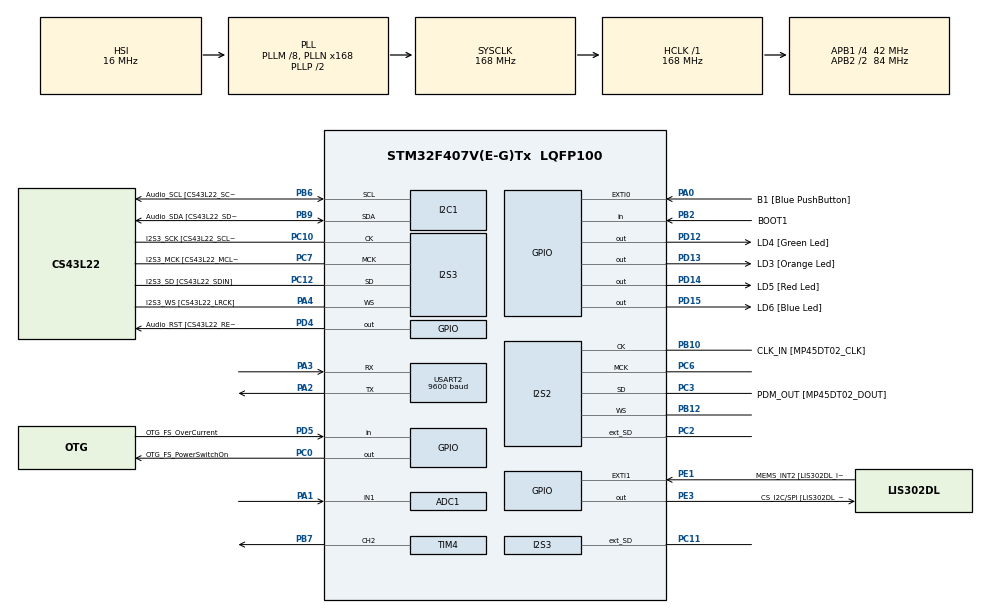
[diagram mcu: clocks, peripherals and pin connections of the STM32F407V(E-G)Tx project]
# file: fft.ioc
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ADC1.Channel-0\#ChannelRegularConversion=ADC_CHANNEL_1
ADC1.NbrOfConversionFlag=1
ADC1.Rank-0\#ChannelRegularConversion=1
ADC1.SamplingTime-0\#ChannelRegularConversion=ADC_SAMPLETIME_3CYCLES
ADC1.master=1
Dma.ADC1.0.Direction=DMA_PERIPH_TO_MEMORY
Dma.ADC1.0.FIFOMode=DMA_FIFOMODE_DISABLE
Dma.ADC1.0.Instance=DMA2_Stream0
Dma.ADC1.0.MemDataAlignment=DMA_MDATAALIGN_HALFWORD
Dma.ADC1.0.MemInc=DMA_MINC_ENABLE
Dma.ADC1.0.Mode=DMA_CIRCULAR
Dma.ADC1.0.PeriphDataAlignment=DMA_PDATAALIGN_HALFWORD
Dma.ADC1.0.PeriphInc=DMA_PINC_DISABLE
Dma.ADC1.0.Priority=DMA_PRIORITY_LOW
Dma.Request0=ADC1
Dma.Request1=USART2_RX
Dma.Request2=USART2_TX
Dma.USART2_RX.1.Direction=DMA_PERIPH_TO_MEMORY
Dma.USART2_RX.1.FIFOMode=DMA_FIFOMODE_DISABLE
Dma.USART2_RX.1.Instance=DMA1_Stream5
Dma.USART2_RX.1.MemDataAlignment=DMA_MDATAALIGN_HALFWORD
Dma.USART2_RX.1.MemInc=DMA_MINC_ENABLE
Dma.USART2_RX.1.Mode=DMA_CIRCULAR
Dma.USART2_RX.1.PeriphDataAlignment=DMA_PDATAALIGN_HALFWORD
Dma.USART2_RX.1.PeriphInc=DMA_PINC_DISABLE
Dma.USART2_RX.1.Priority=DMA_PRIORITY_LOW
Dma.USART2_TX.2.Direction=DMA_MEMORY_TO_PERIPH
Dma.USART2_TX.2.FIFOMode=DMA_FIFOMODE_DISABLE
Dma.USART2_TX.2.Instance=DMA1_Stream6
Dma.USART2_TX.2.MemDataAlignment=DMA_MDATAALIGN_HALFWORD
Dma.USART2_TX.2.MemInc=DMA_MINC_ENABLE
Dma.USART2_TX.2.Mode=DMA_CIRCULAR
Dma.USART2_TX.2.PeriphDataAlignment=DMA_PDATAALIGN_HALFWORD
Dma.USART2_TX.2.PeriphInc=DMA_PINC_DISABLE
Dma.USART2_TX.2.Priority=DMA_PRIORITY_LOW
I2S2.AudioFreq=I2S_AUDIOFREQ_8K
I2S2.ErrorAudioFreq=-0.25 %
I2S2.FullDuplexMode=I2S_FULLDUPLEXMODE_ENABLE
I2S2.Instance=SPI$Index
I2S2.RealAudioFreq=7.98 KHz
I2S2.VirtualMode=I2S_MODE_MASTER
I2S3.AudioFreq=I2S_AUDIOFREQ_44K
I2S3.DataFormat=I2S_DATAFORMAT_32B
I2S3.ErrorAudioFreq=-0.77 %
I2S3.FullDuplexMode=I2S_FULLDUPLEXMODE_ENABLE
I2S3.Instance=SPI$Index
I2S3.Mode=I2S_MODE_MASTER_RX
I2S3.RealAudioFreq=43.658 KHz
I2S3.VirtualMode=I2S_MODE_MASTER
Mcu.Family=STM32F4
Mcu.Name=STM32F407V(E-G)Tx
Mcu.Package=LQFP100
NVIC.DMA1_Stream5_IRQn=true\:0\:0\:false\:false\:true
NVIC.DMA1_Stream6_IRQn=true\:0\:0\:false\:false\:true
NVIC.DMA2_Stream0_IRQn=true\:0\:0\:false\:false\:true
NVIC.PriorityGroup=NVIC_PRIORITYGROUP_0
NVIC.SPI3_IRQn=true\:0\:0\:false\:false\:true
PA0-WKUP.GPIO_Label=B1 [Blue PushButton]
PA0-WKUP.GPIO_ModeDefaultEXTI=GPIO_MODE_EVT_RISING
PA0-WKUP.GPIO_PuPd=GPIO_NOPULL
PA0-WKUP.Signal=GPXTI0
PA1.Signal=ADCx_IN1
PA10.GPIO_Label=OTG_FS_ID
PA10.GPIO_Mode=GPIO_MODE_AF_PP
PA10.GPIO_PuPd=GPIO_NOPULL
PA10.GPIO_Speed=GPIO_SPEED_FREQ_LOW
PA10.Signal=USB_OTG_FS_ID
PA11.GPIO_Label=OTG_FS_DM
PA11.GPIO_Mode=GPIO_MODE_AF_PP
PA11.GPIO_PuPd=GPIO_NOPULL
PA11.GPIO_Speed=GPIO_SPEED_FREQ_LOW
PA11.Signal=USB_OTG_FS_DM
PA12.GPIO_Label=OTG_FS_DP
PA12.GPIO_Mode=GPIO_MODE_AF_PP
PA12.GPIO_PuPd=GPIO_NOPULL
PA12.GPIO_Speed=GPIO_SPEED_FREQ_LOW
PA12.Signal=USB_OTG_FS_DP
PA13.GPIO_Label=SWDIO
PA13.Signal=SYS_JTMS-SWDIO
PA14.GPIO_Label=SWCLK
PA14.Signal=SYS_JTCK-SWCLK
PA2.Mode=Asynchronous
PA2.Signal=USART2_TX
PA3.Mode=Asynchronous
PA3.Signal=USART2_RX
PA4.GPIO_Label=I2S3_WS [CS43L22_LRCK]
PA4.GPIO_Mode=GPIO_MODE_AF_PP
PA4.GPIO_PuPd=GPIO_NOPULL
PA4.GPIO_Speed=GPIO_SPEED_FREQ_LOW
PA4.Mode=Full_Duplex_Master
PA4.Signal=I2S3_WS
PA5.GPIO_Label=SPI1_SCK [LIS302DL_SCL/SPC]
PA5.GPIO_Mode=GPIO_MODE_AF_PP
PA5.GPIO_PuPd=GPIO_NOPULL
PA5.GPIO_Speed=GPIO_SPEED_FREQ_LOW
PA5.Signal=SPI1_SCK
PA6.GPIO_Label=SPI1_MISO [LIS302DL_SDO]
PA6.GPIO_Mode=GPIO_MODE_AF_PP
PA6.GPIO_PuPd=GPIO_NOPULL
PA6.GPIO_Speed=GPIO_SPEED_FREQ_LOW
PA6.Signal=SPI1_MISO
PA7.GPIO_Label=SPI1_MOSI [LIS302DL_SDA/SDI/SDO]
PA7.GPIO_Mode=GPIO_MODE_AF_PP
PA7.GPIO_PuPd=GPIO_NOPULL
PA7.GPIO_Speed=GPIO_SPEED_FREQ_LOW
PA7.Signal=SPI1_MOSI
PA9.GPIO_Label=VBUS_FS
PA9.GPIO_Mode=GPIO_MODE_INPUT
PA9.GPIO_PuPd=GPIO_NOPULL
PA9.Signal=USB_OTG_FS_VBUS
PB10.GPIO_Label=CLK_IN [MP45DT02_CLK]
PB10.GPIO_Mode=GPIO_MODE_AF_PP
PB10.GPIO_PuPd=GPIO_NOPULL
PB10.GPIO_Speed=GPIO_SPEED_FREQ_LOW
PB10.Mode=Full_Duplex_Master
PB10.Signal=I2S2_CK
PB12.Mode=Full_Duplex_Master
PB12.Signal=I2S2_WS
PB2.GPIO_Label=BOOT1
PB2.GPIO_Mode=GPIO_MODE_INPUT
PB2.GPIO_PuPd=GPIO_NOPULL
PB2.Signal=GPIO_Input
PB3.GPIO_Label=SWO
PB3.Signal=SYS_JTDO-SWO
PB6.GPIO_Label=Audio_SCL [CS43L22_SCL]
PB6.GPIO_Mode=GPIO_MODE_AF_OD
PB6.GPIO_PuPd=GPIO_NOPULL
PB6.GPIO_Speed=GPIO_SPEED_FREQ_LOW
PB6.Mode=I2C
PB6.Signal=I2C1_SCL
PB7.Signal=S_TIM4_CH2
PB9.GPIO_Label=Audio_SDA [CS43L22_SDA]
PB9.GPIO_Mode=GPIO_MODE_AF_OD
PB9.GPIO_PuPd=GPIO_NOPULL
PB9.GPIO_Speed=GPIO_SPEED_FREQ_LOW
PB9.Mode=I2C
PB9.Signal=I2C1_SDA
PC0.GPIO_Label=OTG_FS_PowerSwitchOn
PC0.GPIO_PuPd=GPIO_NOPULL
PC0.GPIO_Speed=GPIO_SPEED_FREQ_LOW
PC0.PinState=GPIO_PIN_SET
PC0.Signal=GPIO_Output
PC10.GPIO_Label=I2S3_SCK [CS43L22_SCLK]
PC10.GPIO_Mode=GPIO_MODE_AF_PP
PC10.GPIO_PuPd=GPIO_NOPULL
PC10.GPIO_Speed=GPIO_SPEED_FREQ_LOW
PC10.Mode=Full_Duplex_Master
PC10.Signal=I2S3_CK
PC11.Mode=Full_Duplex_Master
PC11.Signal=I2S3_ext_SD
PC12.GPIO_Label=I2S3_SD [CS43L22_SDIN]
PC12.GPIO_Mode=GPIO_MODE_AF_PP
PC12.GPIO_PuPd=GPIO_NOPULL
PC12.GPIO_Speed=GPIO_SPEED_FREQ_LOW
PC12.Mode=Full_Duplex_Master
PC12.Signal=I2S3_SD
PC14-OSC32_IN.GPIO_Label=PC14-OSC32_IN
PC14-OSC32_IN.Signal=RCC_OSC32_IN
PC15-OSC32_OUT.GPIO_Label=PC15-OSC32_OUT
PC15-OSC32_OUT.Signal=RCC_OSC32_OUT
PC2.Mode=Full_Duplex_Master
PC2.Signal=I2S2_ext_SD
PC3.GPIO_Label=PDM_OUT [MP45DT02_DOUT]
PC3.GPIO_Mode=GPIO_MODE_AF_PP
PC3.GPIO_PuPd=GPIO_NOPULL
PC3.GPIO_Speed=GPIO_SPEED_FREQ_LOW
PC3.Mode=Full_Duplex_Master
PC3.Signal=I2S2_SD
PC6.Mode=Master_Clock_Activated
PC6.Signal=I2S2_MCK
PC7.GPIO_Label=I2S3_MCK [CS43L22_MCLK]
PC7.GPIO_Mode=GPIO_MODE_AF_PP
PC7.GPIO_PuPd=GPIO_NOPULL
PC7.GPIO_Speed=GPIO_SPEED_FREQ_LOW
PC7.Mode=Master_Clock_Activated
PC7.Signal=I2S3_MCK
PD12.GPIO_Label=LD4 [Green Led]
PD12.GPIO_PuPd=GPIO_NOPULL
PD12.GPIO_Speed=GPIO_SPEED_FREQ_LOW
PD12.Signal=GPIO_Output
PD13.GPIO_Label=LD3 [Orange Led]
PD13.GPIO_PuPd=GPIO_NOPULL
PD13.GPIO_Speed=GPIO_SPEED_FREQ_LOW
PD13.Signal=GPIO_Output
PD14.GPIO_Label=LD5 [Red Led]
PD14.GPIO_PuPd=GPIO_NOPULL
PD14.GPIO_Speed=GPIO_SPEED_FREQ_LOW
PD14.Signal=GPIO_Output
PD15.GPIO_Label=LD6 [Blue Led]
PD15.GPIO_PuPd=GPIO_NOPULL
PD15.GPIO_Speed=GPIO_SPEED_FREQ_LOW
PD15.Signal=GPIO_Output
PD4.GPIO_Label=Audio_RST [CS43L22_RESET]
PD4.GPIO_PuPd=GPIO_NOPULL
PD4.GPIO_Speed=GPIO_SPEED_FREQ_LOW
PD4.Signal=GPIO_Output
PD5.GPIO_Label=OTG_FS_OverCurrent
PD5.GPIO_Mode=GPIO_MODE_INPUT
PD5.GPIO_PuPd=GPIO_NOPULL
PD5.Signal=GPIO_Input
PE1.GPIO_Label=MEMS_INT2 [LIS302DL_INT2]
PE1.GPIO_ModeDefaultEXTI=GPIO_MODE_EVT_RISING
PE1.GPIO_PuPd=GPIO_NOPULL
PE1.Signal=GPXTI1
PE3.GPIO_Label=CS_I2C/SPI [LIS302DL_CS_I2C/SPI]
PE3.GPIO_PuPd=GPIO_NOPULL
PE3.GPIO_Speed=GPIO_SPEED_FREQ_LOW
PE3.Signal=GPIO_Output
PH0-OSC_IN.GPIO_Label=PH0-OSC_IN
PH0-OSC_IN.Signal=RCC_OSC_IN
PH1-OSC_OUT.GPIO_Label=PH1-OSC_OUT
PH1-OSC_OUT.Signal=RCC_OSC_OUT
ProjectManager.HeapSize=0x200
ProjectManager.StackSize=0x400
ProjectManager.TargetToolchain=MDK-ARM V5
RCC.48MHZClocksFreq_Value=48000000
RCC.AHBFreq_Value=168000000
RCC.APB1CLKDivider=RCC_HCLK_DIV4
RCC.APB1Freq_Value=42000000
RCC.APB1TimFreq_Value=84000000
RCC.APB2CLKDivider=RCC_HCLK_DIV2
RCC.APB2Freq_Value=84000000
RCC.APB2TimFreq_Value=168000000
RCC.CortexFreq_Value=168000000
RCC.HCLKFreq_Value=168000000
RCC.HSE_VALUE=8000000
RCC.HSI_VALUE=16000000
RCC.LSE_VALUE=32768
RCC.PLLI2SN=190
RCC.PLLM=8
RCC.PLLN=168
RCC.PLLQ=7
RCC.SYSCLKFreq_VALUE=168000000
RCC.SYSCLKSource=RCC_SYSCLKSOURCE_PLLCLK
RCC.VCOOutputFreq_Value=336000000
SH.ADCx_IN1.0=ADC1_IN1,IN1
SH.S_TIM4_CH2.0=TIM4_CH2,PWM Generation2 CH2
TIM4.Channel-PWM\ Generation2\ CH2=TIM_CHANNEL_2
USART2.BaudRate=9600
USART2.VirtualMode=VM_ASYNC
board=STM32F4DISCOVERY

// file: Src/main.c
/**
  ******************************************************************************
  * File Name          : main.c
  * Description        : Main program body
  ******************************************************************************
  ** This notice applies to any and all portions of this file
  * that are not between comment pairs USER CODE BEGIN and
  * USER CODE END. Other portions of this file, whether
  * inserted by the user or by software development tools
  * are owned by their respective copyright owners.
  *
  * COPYRIGHT(c) 2017 STMicroelectronics
  *
  * Redistribution and use in source and binary forms, with or without modification,
  * are permitted provided that the following conditions are met:
  *   1. Redistributions of source code must retain the above copyright notice,
  *      this list of conditions and the following disclaimer.
  *   2. Redistributions in binary form must reproduce the above copyright notice,
  *      this list of conditions and the following disclaimer in the documentation
  *      and/or other materials provided with the distribution.
  *   3. Neither the name of STMicroelectronics nor the names of its contributors
  *      may be used to endorse or promote products derived from this software
  *      without specific prior written permission.
  *
  * THIS SOFTWARE IS PROVIDED BY THE COPYRIGHT HOLDERS AND CONTRIBUTORS "AS IS"
  * AND ANY EXPRESS OR IMPLIED WARRANTIES, INCLUDING, BUT NOT LIMITED TO, THE
  * IMPLIED WARRANTIES OF MERCHANTABILITY AND FITNESS FOR A PARTICULAR PURPOSE ARE
  * DISCLAIMED. IN NO EVENT SHALL THE COPYRIGHT HOLDER OR CONTRIBUTORS BE LIABLE
  * FOR ANY DIRECT, INDIRECT, INCIDENTAL, SPECIAL, EXEMPLARY, OR CONSEQUENTIAL
  * DAMAGES (INCLUDING, BUT NOT LIMITED TO, PROCUREMENT OF SUBSTITUTE GOODS OR
  * SERVICES; LOSS OF USE, DATA, OR PROFITS; OR BUSINESS INTERRUPTION) HOWEVER
  * CAUSED AND ON ANY THEORY OF LIABILITY, WHETHER IN CONTRACT, STRICT LIABILITY,
  * OR TORT (INCLUDING NEGLIGENCE OR OTHERWISE) ARISING IN ANY WAY OUT OF THE USE
  * OF THIS SOFTWARE, EVEN IF ADVISED OF THE POSSIBILITY OF SUCH DAMAGE.
  *
  ******************************************************************************
  */
#include "main.h"
#include "stm32f4xx_hal.h"

/* USER CODE BEGIN Includes */
#include "stdio.h"
#define ARM_MATH_CM4

#include "arm_math.h"
#define SAMPLES 4096
#define FFT_SIZE SAMPLES/2

#ifdef __GNUC___

		#define PUTCHAR_PROTOTYPE int __io_putchar(int ch)
#else
		#define PUTCHAR_PROTOTYPE int fputc(int ch,FILE *f)
#endif

/* USER CODE END Includes */

ADC_HandleTypeDef hadc1;
DMA_HandleTypeDef hdma_adc1;

I2C_HandleTypeDef hi2c1;

I2S_HandleTypeDef hi2s2;
I2S_HandleTypeDef hi2s3;

TIM_HandleTypeDef htim4;

UART_HandleTypeDef huart2;
DMA_HandleTypeDef hdma_usart2_rx;
DMA_HandleTypeDef hdma_usart2_tx;

/* USER CODE BEGIN PV */
/* Private variables ---------------------------------------------------------*/
float32_t input1[SAMPLES];
float32_t output1[FFT_SIZE];
float32_t max_data[4];
	arm_cfft_radix4_instance_f32 S;
	float32_t maxValue1;
	uint32_t maxIndex1;
	float32_t maxValue2;
	uint32_t maxIndex2;
	uint16_t i;
	uint16_t buffer[4096];
	uint16_t flag=0;
float32_t input2[SAMPLES];
float32_t output2[FFT_SIZE];
		PUTCHAR_PROTOTYPE
{
	HAL_UART_Transmit(&huart2,(uint8_t *)&ch, 1,0xFFFF);

	return 0;
}
/* USER CODE END PV */

void SystemClock_Config(void);
static void MX_GPIO_Init(void);
static void MX_DMA_Init(void);
static void MX_I2S3_Init(void);
static void MX_TIM4_Init(void);
static void MX_ADC1_Init(void);
static void MX_USART2_UART_Init(void);
static void MX_I2S2_Init(void);
static void MX_I2C1_Init(void);

void HAL_TIM_MspPostInit(TIM_HandleTypeDef *htim);

/* USER CODE BEGIN PFP */
/* Private function prototypes -----------------------------------------------*/

/* USER CODE END PFP */

int main(void)
{

  /* MCU Configuration----------------------------------------------------------*/

  /* Reset of all peripherals, Initializes the Flash interface and the Systick. */
  HAL_Init();

  /* Configure the system clock */
  SystemClock_Config();

  /* Initialize all configured peripherals */
  MX_GPIO_Init();
  MX_DMA_Init();
  MX_I2S3_Init();
  MX_TIM4_Init();
  MX_ADC1_Init();
  MX_USART2_UART_Init();
  MX_I2S2_Init();
  MX_I2C1_Init();

  /* Infinite loop */
  while (1)
  {

  /* USER CODE BEGIN 3 */
//		for(i=0;i<SAMPLES; i+=2){
//			HAL_Delay(1);
//			HAL_I2S_Transmit(&hi2s3,(uint16_t *)buffer,1024,100);
//			input[(uint16_t)i]=(float32_t)((float32_t)HAL_ADC_GetValue(&hadc1)-(float32_t)2048.0)/(float32_t)2048.0;
//			input[(uint16_t)i+1]=0;
//
//		}

		HAL_I2S_Receive(&hi2s2,(uint16_t *)input1,SAMPLES,100);
		arm_cfft_radix4_init_f32(&S, FFT_SIZE,0,1);
		arm_cfft_radix4_f32(&S,input1);
		arm_cmplx_mag_f32(input1,output1,FFT_SIZE);
		arm_max_f32(output1,FFT_SIZE,&maxValue1, &maxIndex1);

		HAL_I2S_Receive(&hi2s3,(uint16_t *)input2,SAMPLES,100);
		arm_cfft_radix4_init_f32(&S,FFT_SIZE,0,1);
		arm_cfft_radix4_f32(&S,input2);
		arm_cmplx_mag_f32(input2,output2,FFT_SIZE);
		arm_max_f32(output2,FFT_SIZE,&maxValue2,&maxIndex2);

		max_data[0]=maxIndex1;
		max_data[1]=maxValue1;
		max_data[2]=maxIndex2;
		max_data[3]=maxValue2;

		HAL_Delay(200);
		if(flag==0)
			flag=1;
		else
			flag=0;

//		for(i=0;i<FFT_SIZE/2;i++){
////			HAL_UART_Transmit_DMA(&huart2,(uint8_t)maxValue,10);
////			HAL_UART_Transmit_DMA(&huart2, (uint8_t) output[(uint16_t)i],10);
//			printf("FFT_maxvalue:%.2f FFT_Output:%.2f \n\r",maxValue1,output1[(uint16_t)i]);
//		}
//
//		for(i=0;i<FFT_SIZE/2;i++){
//
//			printf("FFT_maxvalue:%.2f FFT_Output:%.2f \n\r",maxValue2,output2[(uint16_t)i]);
//		}
  }
  /* USER CODE END 3 */

}

/** System Clock Configuration
*/
void SystemClock_Config(void)
{

  RCC_OscInitTypeDef RCC_OscInitStruct;
  RCC_ClkInitTypeDef RCC_ClkInitStruct;
  RCC_PeriphCLKInitTypeDef PeriphClkInitStruct;

    /**Configure the main internal regulator output voltage
    */
  __HAL_RCC_PWR_CLK_ENABLE();

  __HAL_PWR_VOLTAGESCALING_CONFIG(PWR_REGULATOR_VOLTAGE_SCALE1);

    /**Initializes the CPU, AHB and APB busses clocks
    */
  RCC_OscInitStruct.OscillatorType = RCC_OSCILLATORTYPE_HSI;
  RCC_OscInitStruct.HSIState = RCC_HSI_ON;
  RCC_OscInitStruct.HSICalibrationValue = 16;
  RCC_OscInitStruct.PLL.PLLState = RCC_PLL_ON;
  RCC_OscInitStruct.PLL.PLLSource = RCC_PLLSOURCE_HSI;
  RCC_OscInitStruct.PLL.PLLM = 8;
  RCC_OscInitStruct.PLL.PLLN = 168;
  RCC_OscInitStruct.PLL.PLLP = RCC_PLLP_DIV2;
  RCC_OscInitStruct.PLL.PLLQ = 7;
  if (HAL_RCC_OscConfig(&RCC_OscInitStruct) != HAL_OK)
  {
    _Error_Handler(__FILE__, __LINE__);
  }

    /**Initializes the CPU, AHB and APB busses clocks
    */
  RCC_ClkInitStruct.ClockType = RCC_CLOCKTYPE_HCLK|RCC_CLOCKTYPE_SYSCLK
                              |RCC_CLOCKTYPE_PCLK1|RCC_CLOCKTYPE_PCLK2;
  RCC_ClkInitStruct.SYSCLKSource = RCC_SYSCLKSOURCE_PLLCLK;
  RCC_ClkInitStruct.AHBCLKDivider = RCC_SYSCLK_DIV1;
  RCC_ClkInitStruct.APB1CLKDivider = RCC_HCLK_DIV4;
  RCC_ClkInitStruct.APB2CLKDivider = RCC_HCLK_DIV2;

  if (HAL_RCC_ClockConfig(&RCC_ClkInitStruct, FLASH_LATENCY_5) != HAL_OK)
  {
    _Error_Handler(__FILE__, __LINE__);
  }

  PeriphClkInitStruct.PeriphClockSelection = RCC_PERIPHCLK_I2S;
  PeriphClkInitStruct.PLLI2S.PLLI2SN = 190;
  PeriphClkInitStruct.PLLI2S.PLLI2SR = 2;
  if (HAL_RCCEx_PeriphCLKConfig(&PeriphClkInitStruct) != HAL_OK)
  {
    _Error_Handler(__FILE__, __LINE__);
  }

    /**Configure the Systick interrupt time
    */
  HAL_SYSTICK_Config(HAL_RCC_GetHCLKFreq()/1000);

    /**Configure the Systick
    */
  HAL_SYSTICK_CLKSourceConfig(SYSTICK_CLKSOURCE_HCLK);

  /* SysTick_IRQn interrupt configuration */
  HAL_NVIC_SetPriority(SysTick_IRQn, 0, 0);
}

/* ADC1 init function */
static void MX_ADC1_Init(void)
{

  ADC_ChannelConfTypeDef sConfig;

    /**Configure the global features of the ADC (Clock, Resolution, Data Alignment and number of conversion)
    */
  hadc1.Instance = ADC1;
  hadc1.Init.ClockPrescaler = ADC_CLOCK_SYNC_PCLK_DIV4;
  hadc1.Init.Resolution = ADC_RESOLUTION_12B;
  hadc1.Init.ScanConvMode = DISABLE;
  hadc1.Init.ContinuousConvMode = DISABLE;
  hadc1.Init.DiscontinuousConvMode = DISABLE;
  hadc1.Init.ExternalTrigConvEdge = ADC_EXTERNALTRIGCONVEDGE_NONE;
  hadc1.Init.ExternalTrigConv = ADC_SOFTWARE_START;
  hadc1.Init.DataAlign = ADC_DATAALIGN_RIGHT;
  hadc1.Init.NbrOfConversion = 1;
  hadc1.Init.DMAContinuousRequests = DISABLE;
  hadc1.Init.EOCSelection = ADC_EOC_SINGLE_CONV;
  if (HAL_ADC_Init(&hadc1) != HAL_OK)
  {
    _Error_Handler(__FILE__, __LINE__);
  }

    /**Configure for the selected ADC regular channel its corresponding rank in the sequencer and its sample time.
    */
  sConfig.Channel = ADC_CHANNEL_1;
  sConfig.Rank = 1;
  sConfig.SamplingTime = ADC_SAMPLETIME_3CYCLES;
  if (HAL_ADC_ConfigChannel(&hadc1, &sConfig) != HAL_OK)
  {
    _Error_Handler(__FILE__, __LINE__);
  }

}

/* I2C1 init function */
static void MX_I2C1_Init(void)
{

  hi2c1.Instance = I2C1;
  hi2c1.Init.ClockSpeed = 100000;
  hi2c1.Init.DutyCycle = I2C_DUTYCYCLE_2;
  hi2c1.Init.OwnAddress1 = 0;
  hi2c1.Init.AddressingMode = I2C_ADDRESSINGMODE_7BIT;
  hi2c1.Init.DualAddressMode = I2C_DUALADDRESS_DISABLE;
  hi2c1.Init.OwnAddress2 = 0;
  hi2c1.Init.GeneralCallMode = I2C_GENERALCALL_DISABLE;
  hi2c1.Init.NoStretchMode = I2C_NOSTRETCH_DISABLE;
  if (HAL_I2C_Init(&hi2c1) != HAL_OK)
  {
    _Error_Handler(__FILE__, __LINE__);
  }

}

/* I2S2 init function */
static void MX_I2S2_Init(void)
{

  hi2s2.Instance = SPI2;
  hi2s2.Init.Mode = I2S_MODE_MASTER_TX;
  hi2s2.Init.Standard = I2S_STANDARD_PHILIPS;
  hi2s2.Init.DataFormat = I2S_DATAFORMAT_16B;
  hi2s2.Init.MCLKOutput = I2S_MCLKOUTPUT_ENABLE;
  hi2s2.Init.AudioFreq = I2S_AUDIOFREQ_8K;
  hi2s2.Init.CPOL = I2S_CPOL_LOW;
  hi2s2.Init.ClockSource = I2S_CLOCK_PLL;
  hi2s2.Init.FullDuplexMode = I2S_FULLDUPLEXMODE_ENABLE;
  if (HAL_I2S_Init(&hi2s2) != HAL_OK)
  {
    _Error_Handler(__FILE__, __LINE__);
  }

}

/* I2S3 init function */
static void MX_I2S3_Init(void)
{

  hi2s3.Instance = SPI3;
  hi2s3.Init.Mode = I2S_MODE_MASTER_RX;
  hi2s3.Init.Standard = I2S_STANDARD_PHILIPS;
  hi2s3.Init.DataFormat = I2S_DATAFORMAT_32B;
  hi2s3.Init.MCLKOutput = I2S_MCLKOUTPUT_ENABLE;
  hi2s3.Init.AudioFreq = I2S_AUDIOFREQ_44K;
  hi2s3.Init.CPOL = I2S_CPOL_LOW;
  hi2s3.Init.ClockSource = I2S_CLOCK_PLL;
  hi2s3.Init.FullDuplexMode = I2S_FULLDUPLEXMODE_ENABLE;
  if (HAL_I2S_Init(&hi2s3) != HAL_OK)
  {
    _Error_Handler(__FILE__, __LINE__);
  }

}

/* TIM4 init function */
static void MX_TIM4_Init(void)
{

  TIM_MasterConfigTypeDef sMasterConfig;
  TIM_OC_InitTypeDef sConfigOC;

  htim4.Instance = TIM4;
  htim4.Init.Prescaler = 0;
  htim4.Init.CounterMode = TIM_COUNTERMODE_UP;
  htim4.Init.Period = 0;
  htim4.Init.ClockDivision = TIM_CLOCKDIVISION_DIV1;
  if (HAL_TIM_PWM_Init(&htim4) != HAL_OK)
  {
    _Error_Handler(__FILE__, __LINE__);
  }

  sMasterConfig.MasterOutputTrigger = TIM_TRGO_RESET;
  sMasterConfig.MasterSlaveMode = TIM_MASTERSLAVEMODE_DISABLE;
  if (HAL_TIMEx_MasterConfigSynchronization(&htim4, &sMasterConfig) != HAL_OK)
  {
    _Error_Handler(__FILE__, __LINE__);
  }

  sConfigOC.OCMode = TIM_OCMODE_PWM1;
  sConfigOC.Pulse = 0;
  sConfigOC.OCPolarity = TIM_OCPOLARITY_HIGH;
  sConfigOC.OCFastMode = TIM_OCFAST_DISABLE;
  if (HAL_TIM_PWM_ConfigChannel(&htim4, &sConfigOC, TIM_CHANNEL_2) != HAL_OK)
  {
    _Error_Handler(__FILE__, __LINE__);
  }

  HAL_TIM_MspPostInit(&htim4);

}

/* USART2 init function */
static void MX_USART2_UART_Init(void)
{

  huart2.Instance = USART2;
  huart2.Init.BaudRate = 9600;
  huart2.Init.WordLength = UART_WORDLENGTH_8B;
  huart2.Init.StopBits = UART_STOPBITS_1;
  huart2.Init.Parity = UART_PARITY_NONE;
  huart2.Init.Mode = UART_MODE_TX_RX;
  huart2.Init.HwFlowCtl = UART_HWCONTROL_NONE;
  huart2.Init.OverSampling = UART_OVERSAMPLING_16;
  if (HAL_UART_Init(&huart2) != HAL_OK)
  {
    _Error_Handler(__FILE__, __LINE__);
  }

}

static void MX_DMA_Init(void)
{
  /* DMA controller clock enable */
  __HAL_RCC_DMA2_CLK_ENABLE();
  __HAL_RCC_DMA1_CLK_ENABLE();

  /* DMA interrupt init */
  /* DMA1_Stream5_IRQn interrupt configuration */
  HAL_NVIC_SetPriority(DMA1_Stream5_IRQn, 0, 0);
  HAL_NVIC_EnableIRQ(DMA1_Stream5_IRQn);
  /* DMA1_Stream6_IRQn interrupt configuration */
  HAL_NVIC_SetPriority(DMA1_Stream6_IRQn, 0, 0);
  HAL_NVIC_EnableIRQ(DMA1_Stream6_IRQn);
  /* DMA2_Stream0_IRQn interrupt configuration */
  HAL_NVIC_SetPriority(DMA2_Stream0_IRQn, 0, 0);
  HAL_NVIC_EnableIRQ(DMA2_Stream0_IRQn);

}

/** Configure pins as
        * Analog
        * Input
        * Output
        * EVENT_OUT
        * EXTI
     PA5   ------> SPI1_SCK
     PA6   ------> SPI1_MISO
     PA7   ------> SPI1_MOSI
     PA9   ------> USB_OTG_FS_VBUS
     PA10   ------> USB_OTG_FS_ID
     PA11   ------> USB_OTG_FS_DM
     PA12   ------> USB_OTG_FS_DP
*/
static void MX_GPIO_Init(void)
{

  GPIO_InitTypeDef GPIO_InitStruct;

  /* GPIO Ports Clock Enable */
  __HAL_RCC_GPIOE_CLK_ENABLE();
  __HAL_RCC_GPIOC_CLK_ENABLE();
  __HAL_RCC_GPIOH_CLK_ENABLE();
  __HAL_RCC_GPIOA_CLK_ENABLE();
  __HAL_RCC_GPIOB_CLK_ENABLE();
  __HAL_RCC_GPIOD_CLK_ENABLE();

  /*Configure GPIO pin Output Level */
  HAL_GPIO_WritePin(CS_I2C_SPI_GPIO_Port, CS_I2C_SPI_Pin, GPIO_PIN_RESET);

  /*Configure GPIO pin Output Level */
  HAL_GPIO_WritePin(OTG_FS_PowerSwitchOn_GPIO_Port, OTG_FS_PowerSwitchOn_Pin, GPIO_PIN_SET);

  /*Configure GPIO pin Output Level */
  HAL_GPIO_WritePin(GPIOD, LD4_Pin|LD3_Pin|LD5_Pin|LD6_Pin
                          |Audio_RST_Pin, GPIO_PIN_RESET);

  /*Configure GPIO pin : CS_I2C_SPI_Pin */
  GPIO_InitStruct.Pin = CS_I2C_SPI_Pin;
  GPIO_InitStruct.Mode = GPIO_MODE_OUTPUT_PP;
  GPIO_InitStruct.Pull = GPIO_NOPULL;
  GPIO_InitStruct.Speed = GPIO_SPEED_FREQ_LOW;
  HAL_GPIO_Init(CS_I2C_SPI_GPIO_Port, &GPIO_InitStruct);

  /*Configure GPIO pin : OTG_FS_PowerSwitchOn_Pin */
  GPIO_InitStruct.Pin = OTG_FS_PowerSwitchOn_Pin;
  GPIO_InitStruct.Mode = GPIO_MODE_OUTPUT_PP;
  GPIO_InitStruct.Pull = GPIO_NOPULL;
  GPIO_InitStruct.Speed = GPIO_SPEED_FREQ_LOW;
  HAL_GPIO_Init(OTG_FS_PowerSwitchOn_GPIO_Port, &GPIO_InitStruct);

  /*Configure GPIO pin : B1_Pin */
  GPIO_InitStruct.Pin = B1_Pin;
  GPIO_InitStruct.Mode = GPIO_MODE_EVT_RISING;
  GPIO_InitStruct.Pull = GPIO_NOPULL;
  HAL_GPIO_Init(B1_GPIO_Port, &GPIO_InitStruct);

  /*Configure GPIO pins : SPI1_SCK_Pin SPI1_MISO_Pin SPI1_MOSI_Pin */
  GPIO_InitStruct.Pin = SPI1_SCK_Pin|SPI1_MISO_Pin|SPI1_MOSI_Pin;
  GPIO_InitStruct.Mode = GPIO_MODE_AF_PP;
  GPIO_InitStruct.Pull = GPIO_NOPULL;
  GPIO_InitStruct.Speed = GPIO_SPEED_FREQ_LOW;
  GPIO_InitStruct.Alternate = GPIO_AF5_SPI1;
  HAL_GPIO_Init(GPIOA, &GPIO_InitStruct);

  /*Configure GPIO pin : BOOT1_Pin */
  GPIO_InitStruct.Pin = BOOT1_Pin;
  GPIO_InitStruct.Mode = GPIO_MODE_INPUT;
  GPIO_InitStruct.Pull = GPIO_NOPULL;
  HAL_GPIO_Init(BOOT1_GPIO_Port, &GPIO_InitStruct);

  /*Configure GPIO pins : LD4_Pin LD3_Pin LD5_Pin LD6_Pin
                           Audio_RST_Pin */
  GPIO_InitStruct.Pin = LD4_Pin|LD3_Pin|LD5_Pin|LD6_Pin
                          |Audio_RST_Pin;
  GPIO_InitStruct.Mode = GPIO_MODE_OUTPUT_PP;
  GPIO_InitStruct.Pull = GPIO_NOPULL;
  GPIO_InitStruct.Speed = GPIO_SPEED_FREQ_LOW;
  HAL_GPIO_Init(GPIOD, &GPIO_InitStruct);

  /*Configure GPIO pin : VBUS_FS_Pin */
  GPIO_InitStruct.Pin = VBUS_FS_Pin;
  GPIO_InitStruct.Mode = GPIO_MODE_INPUT;
  GPIO_InitStruct.Pull = GPIO_NOPULL;
  HAL_GPIO_Init(VBUS_FS_GPIO_Port, &GPIO_InitStruct);

  /*Configure GPIO pins : OTG_FS_ID_Pin OTG_FS_DM_Pin OTG_FS_DP_Pin */
  GPIO_InitStruct.Pin = OTG_FS_ID_Pin|OTG_FS_DM_Pin|OTG_FS_DP_Pin;
  GPIO_InitStruct.Mode = GPIO_MODE_AF_PP;
  GPIO_InitStruct.Pull = GPIO_NOPULL;
  GPIO_InitStruct.Speed = GPIO_SPEED_FREQ_LOW;
  GPIO_InitStruct.Alternate = GPIO_AF10_OTG_FS;
  HAL_GPIO_Init(GPIOA, &GPIO_InitStruct);

  /*Configure GPIO pin : OTG_FS_OverCurrent_Pin */
  GPIO_InitStruct.Pin = OTG_FS_OverCurrent_Pin;
  GPIO_InitStruct.Mode = GPIO_MODE_INPUT;
  GPIO_InitStruct.Pull = GPIO_NOPULL;
  HAL_GPIO_Init(OTG_FS_OverCurrent_GPIO_Port, &GPIO_InitStruct);

  /*Configure GPIO pin : MEMS_INT2_Pin */
  GPIO_InitStruct.Pin = MEMS_INT2_Pin;
  GPIO_InitStruct.Mode = GPIO_MODE_EVT_RISING;
  GPIO_InitStruct.Pull = GPIO_NOPULL;
  HAL_GPIO_Init(MEMS_INT2_GPIO_Port, &GPIO_InitStruct);

}

void _Error_Handler(char * file, int line)
{
  while(1)
  {
  }
}

/************************ (C) COPYRIGHT STMicroelectronics *****END OF FILE****/
